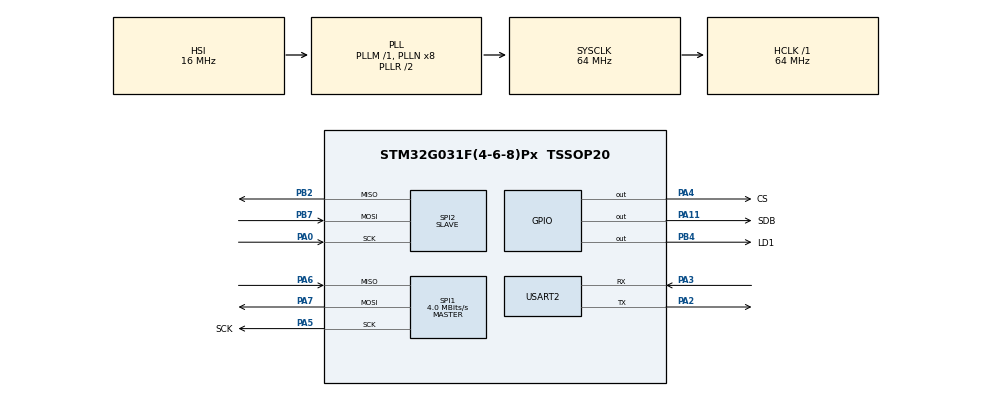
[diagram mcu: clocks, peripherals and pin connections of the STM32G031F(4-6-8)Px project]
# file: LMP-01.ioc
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Mcu.Family=STM32G0
Mcu.Name=STM32G031F(4-6-8)Px
Mcu.Package=TSSOP20
NVIC.SPI1_IRQn=true\:0\:0\:false\:false\:true\:true\:true
PA0.Mode=Full_Duplex_Slave
PA0.Signal=SPI2_SCK
PA11\ [PA9].GPIO_Label=SDB
PA11\ [PA9].PinState=GPIO_PIN_RESET
PA11\ [PA9].Signal=GPIO_Output
PA13.Mode=Serial_Wire
PA13.Signal=SYS_SWDIO
PA14-BOOT0.Mode=Serial_Wire
PA14-BOOT0.Signal=SYS_SWCLK
PA2.Mode=Asynchronous
PA2.Signal=USART2_TX
PA3.Mode=Asynchronous
PA3.Signal=USART2_RX
PA4.GPIO_Label=CS
PA4.PinState=GPIO_PIN_SET
PA4.Signal=GPIO_Output
PA5.GPIO_Label=SCK
PA5.Mode=Full_Duplex_Master
PA5.Signal=SPI1_SCK
PA6.Mode=Full_Duplex_Master
PA6.Signal=SPI1_MISO
PA7.Mode=Full_Duplex_Master
PA7.Signal=SPI1_MOSI
PB2.Mode=Full_Duplex_Slave
PB2.Signal=SPI2_MISO
PB4.GPIO_Label=LD1
PB4.GPIO_ModeDefaultOutputPP=GPIO_MODE_OUTPUT_PP
PB4.GPIO_Speed=GPIO_SPEED_FREQ_MEDIUM
PB4.PinState=GPIO_PIN_RESET
PB4.Signal=GPIO_Output
PB7.Mode=Full_Duplex_Slave
PB7.Signal=SPI2_MOSI
ProjectManager.HeapSize=0x200
ProjectManager.StackSize=0x400
ProjectManager.TargetToolchain=STM32CubeIDE
RCC.ADCFreq_Value=64000000
RCC.AHBFreq_Value=64000000
RCC.CortexFreq_Value=64000000
RCC.EXTERNAL_CLOCK_VALUE=12288000
RCC.HCLKFreq_Value=64000000
RCC.HSE_VALUE=8000000
RCC.HSI_VALUE=16000000
RCC.LSE_VALUE=32768
RCC.SYSCLKFreq_VALUE=64000000
RCC.SYSCLKSource=RCC_SYSCLKSOURCE_PLLCLK
RCC.VCOOutputFreq_Value=128000000
SPI1.BaudRatePrescaler=SPI_BAUDRATEPRESCALER_16
SPI1.CRCCalculation=SPI_CRCCALCULATION_DISABLE
SPI1.CalculateBaudRate=4.0 MBits/s
SPI1.Direction=SPI_DIRECTION_2LINES
SPI1.Mode=SPI_MODE_MASTER
SPI1.NSSPMode=SPI_NSS_PULSE_DISABLE
SPI1.VirtualType=VM_MASTER
SPI2.Direction=SPI_DIRECTION_2LINES
SPI2.Mode=SPI_MODE_SLAVE
SPI2.VirtualType=VM_SLAVE
TIM16.Period=65535-1
TIM16.Prescaler=6400-1
USART2.VirtualMode-Asynchronous=VM_ASYNC
VP_TIM16_VS_ClockSourceINT.Mode=Enable_Timer
board=custom

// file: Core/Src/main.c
/* USER CODE BEGIN Header */
/**
 ******************************************************************************
 * @file           : main.c
 * @brief          : Main program body
 ******************************************************************************
 * @attention
 *
 * Copyright (c) 2022 STMicroelectronics.
 * All rights reserved.
 *
 * This software is licensed under terms that can be found in the LICENSE file
 * in the root directory of this software component.
 * If no LICENSE file comes with this software, it is provided AS-IS.
 *
 ******************************************************************************
 */
/* USER CODE END Header */
#include "main.h"

/* USER CODE BEGIN Includes */
#include "IS31FL3743B.h"
#include "MyDelay.h"
#include "string.h"
/* USER CODE END Includes */

/* USER CODE BEGIN PD */
#define TIME 200
/* USER CODE END PD */

SPI_HandleTypeDef hspi1;
SPI_HandleTypeDef hspi2;

TIM_HandleTypeDef htim16;

UART_HandleTypeDef huart2;

/* USER CODE BEGIN PV */
//Numbers
const uint8_t zeroR[] = { 2, 3, 4, 5, 6, 8, 12, 14, 15, 16, 17, 18 }; //0
const uint8_t oneR[] = { 2, 3, 4, 5, 6 };
const uint8_t twoR[] = { 2, 8, 14, 15, 16, 10, 4, 5, 6, 12, 18 };
const uint8_t threeR[] = { 18, 12, 6, 5, 4, 10, 16, 3, 14, 8, 2 };
const uint8_t fourR[] = { 18, 6, 17, 5, 16, 10, 4, 3, 2 };
const uint8_t fiveR[] = { 6, 12, 18, 17, 16, 10, 4, 3, 2, 8, 14 };
const uint8_t sixR[] = { 6, 12, 18, 17, 16, 10, 4, 15, 3, 14, 8, 2 };
const uint8_t sevenR[] = { 18, 12, 6, 5, 4, 3, 2};
const uint8_t eightR[] = { 2, 3, 4, 5, 6, 8, 10, 12, 14, 15, 16, 17, 18 };
const uint8_t nineR[] = { 18, 12, 6, 5, 4, 3, 2, 17, 16, 10 };
/* USER CODE END PV */

void SystemClock_Config(void);
static void MX_GPIO_Init(void);
static void MX_SPI1_Init(void);
static void MX_USART2_UART_Init(void);
static void MX_TIM16_Init(void);
static void MX_SPI2_Init(void);

int main(void) {

	/* MCU Configuration--------------------------------------------------------*/

	/* Reset of all peripherals, Initializes the Flash interface and the Systick. */
	HAL_Init();

	/* Configure the system clock */
	SystemClock_Config();

	/* Initialize all configured peripherals */
	MX_GPIO_Init();
	MX_SPI1_Init();
	MX_USART2_UART_Init();
	MX_TIM16_Init();
	MX_SPI2_Init();
	/* USER CODE BEGIN 2 */
	extern void LedBlink(uint8_t count);
	uint8_t x = 0;
	IS31FL3743B_init();

	/* USER CODE END 2 */

	/* Infinite loop */
	while (1) {

		/* USER CODE BEGIN 3 */
		switch (x) {
		case 0:
			for (uint8_t dot = 0; dot <= sizeof(zeroR); dot++) {
				IS31FL3743B_SetDotColor(zeroR[dot], Green, full);
			}
			MyDelay_ms(TIME);
			x++;
			IS31FL3743B_ClearAll();

			break;

		case 1:
			for (uint8_t dot = 0; dot <= sizeof(oneR); dot++) {
				IS31FL3743B_SetDotColor(oneR[dot], Green, full);
			}
			MyDelay_ms(TIME);
			x++;
			IS31FL3743B_ClearAll();

			break;

		case 2:
			for (uint8_t dot = 0; dot <= sizeof(twoR); dot++) {
				IS31FL3743B_SetDotColor(twoR[dot], Green, full);
			}
			MyDelay_ms(TIME);
			x++;
			IS31FL3743B_ClearAll();
			break;

		case 3:
			for (uint8_t dot = 0; dot <= sizeof(threeR); dot++) {
				IS31FL3743B_SetDotColor(threeR[dot], Green, full);
			}
			MyDelay_ms(TIME);
			x++;
			IS31FL3743B_ClearAll();
			break;

		case 4:
			for (uint8_t dot = 0; dot <= sizeof(fourR); dot++) {
				IS31FL3743B_SetDotColor(fourR[dot], Green, full);
			}
			MyDelay_ms(TIME);
			x++;
			IS31FL3743B_ClearAll();
			break;

		case 5:
			for (uint8_t dot = 0; dot <= sizeof(fiveR); dot++) {
				IS31FL3743B_SetDotColor(fiveR[dot], Green, full);
			}
			MyDelay_ms(TIME);
			x++;
			IS31FL3743B_ClearAll();
			break;

		case 6:
			for (uint8_t dot = 0; dot <= sizeof(sixR); dot++) {
				IS31FL3743B_SetDotColor(sixR[dot], Green, full);
			}
			MyDelay_ms(TIME + 300);
			x++;
			IS31FL3743B_ClearAll();
			break;

		case 7:
			for (uint8_t dot = 0; dot <= sizeof(sevenR); dot++) {
				IS31FL3743B_SetDotColor(sevenR[dot], Green, full);
			}
			MyDelay_ms(TIME);
			x++;
			IS31FL3743B_ClearAll();
			break;

		case 8:
			for (uint8_t dot = 0; dot <= sizeof(eightR); dot++) {
				IS31FL3743B_SetDotColor(eightR[dot], Green, full);
			}
			MyDelay_ms(TIME);
			x++;
			IS31FL3743B_ClearAll();
			break;

		case 9:
			for (uint8_t dot = 0; dot <= sizeof(nineR); dot++) {
				IS31FL3743B_SetDotColor(nineR[dot], Green, full);
			}
			MyDelay_ms(TIME);
			x++;
			IS31FL3743B_ClearAll();
			break;
		}
		/* USER CODE END 3 */
	}
}
void SystemClock_Config(void) {
	RCC_OscInitTypeDef RCC_OscInitStruct = { 0 };
	RCC_ClkInitTypeDef RCC_ClkInitStruct = { 0 };

	/** Configure the main internal regulator output voltage
	 */
	HAL_PWREx_ControlVoltageScaling(PWR_REGULATOR_VOLTAGE_SCALE1);
	/** Initializes the RCC Oscillators according to the specified parameters
	 * in the RCC_OscInitTypeDef structure.
	 */
	RCC_OscInitStruct.OscillatorType = RCC_OSCILLATORTYPE_HSI;
	RCC_OscInitStruct.HSIState = RCC_HSI_ON;
	RCC_OscInitStruct.HSIDiv = RCC_HSI_DIV1;
	RCC_OscInitStruct.HSICalibrationValue = RCC_HSICALIBRATION_DEFAULT;
	RCC_OscInitStruct.PLL.PLLState = RCC_PLL_ON;
	RCC_OscInitStruct.PLL.PLLSource = RCC_PLLSOURCE_HSI;
	RCC_OscInitStruct.PLL.PLLM = RCC_PLLM_DIV1;
	RCC_OscInitStruct.PLL.PLLN = 8;
	RCC_OscInitStruct.PLL.PLLP = RCC_PLLP_DIV2;
	RCC_OscInitStruct.PLL.PLLQ = RCC_PLLQ_DIV2;
	RCC_OscInitStruct.PLL.PLLR = RCC_PLLR_DIV2;
	if (HAL_RCC_OscConfig(&RCC_OscInitStruct) != HAL_OK) {
		Error_Handler();
	}
	/** Initializes the CPU, AHB and APB buses clocks
	 */
	RCC_ClkInitStruct.ClockType = RCC_CLOCKTYPE_HCLK | RCC_CLOCKTYPE_SYSCLK
			| RCC_CLOCKTYPE_PCLK1;
	RCC_ClkInitStruct.SYSCLKSource = RCC_SYSCLKSOURCE_PLLCLK;
	RCC_ClkInitStruct.AHBCLKDivider = RCC_SYSCLK_DIV1;
	RCC_ClkInitStruct.APB1CLKDivider = RCC_HCLK_DIV1;

	if (HAL_RCC_ClockConfig(&RCC_ClkInitStruct, FLASH_LATENCY_2) != HAL_OK) {
		Error_Handler();
	}
}

static void MX_SPI1_Init(void) {

	/* SPI1 parameter configuration*/
	hspi1.Instance = SPI1;
	hspi1.Init.Mode = SPI_MODE_MASTER;
	hspi1.Init.Direction = SPI_DIRECTION_2LINES;
	hspi1.Init.DataSize = SPI_DATASIZE_8BIT;
	hspi1.Init.CLKPolarity = SPI_POLARITY_LOW;
	hspi1.Init.CLKPhase = SPI_PHASE_1EDGE;
	hspi1.Init.NSS = SPI_NSS_SOFT;
	hspi1.Init.BaudRatePrescaler = SPI_BAUDRATEPRESCALER_16;
	hspi1.Init.FirstBit = SPI_FIRSTBIT_MSB;
	hspi1.Init.TIMode = SPI_TIMODE_DISABLE;
	hspi1.Init.CRCCalculation = SPI_CRCCALCULATION_DISABLE;
	hspi1.Init.CRCPolynomial = 7;
	hspi1.Init.CRCLength = SPI_CRC_LENGTH_DATASIZE;
	hspi1.Init.NSSPMode = SPI_NSS_PULSE_DISABLE;
	if (HAL_SPI_Init(&hspi1) != HAL_OK) {
		Error_Handler();
	}
	/* USER CODE BEGIN SPI1_Init 2 */
	HAL_GPIO_WritePin(SCK_GPIO_Port, SCK_Pin, 0);
	/* USER CODE END SPI1_Init 2 */

}

static void MX_SPI2_Init(void) {

	/* SPI2 parameter configuration*/
	hspi2.Instance = SPI2;
	hspi2.Init.Mode = SPI_MODE_SLAVE;
	hspi2.Init.Direction = SPI_DIRECTION_2LINES;
	hspi2.Init.DataSize = SPI_DATASIZE_8BIT;
	hspi2.Init.CLKPolarity = SPI_POLARITY_LOW;
	hspi2.Init.CLKPhase = SPI_PHASE_1EDGE;
	hspi2.Init.NSS = SPI_NSS_SOFT;
	hspi2.Init.FirstBit = SPI_FIRSTBIT_MSB;
	hspi2.Init.TIMode = SPI_TIMODE_DISABLE;
	hspi2.Init.CRCCalculation = SPI_CRCCALCULATION_DISABLE;
	hspi2.Init.CRCPolynomial = 7;
	hspi2.Init.CRCLength = SPI_CRC_LENGTH_DATASIZE;
	hspi2.Init.NSSPMode = SPI_NSS_PULSE_DISABLE;
	if (HAL_SPI_Init(&hspi2) != HAL_OK) {
		Error_Handler();
	}

}

static void MX_TIM16_Init(void) {

	htim16.Instance = TIM16;
	htim16.Init.Prescaler = 6400 - 1;
	htim16.Init.CounterMode = TIM_COUNTERMODE_UP;
	htim16.Init.Period = 65535 - 1;
	htim16.Init.ClockDivision = TIM_CLOCKDIVISION_DIV1;
	htim16.Init.RepetitionCounter = 0;
	htim16.Init.AutoReloadPreload = TIM_AUTORELOAD_PRELOAD_DISABLE;
	if (HAL_TIM_Base_Init(&htim16) != HAL_OK) {
		Error_Handler();
	}
	/* USER CODE BEGIN TIM16_Init 2 */
	HAL_TIM_Base_Start(&(MY_TIM_HANDLE));
	/* USER CODE END TIM16_Init 2 */

}

static void MX_USART2_UART_Init(void) {

	huart2.Instance = USART2;
	huart2.Init.BaudRate = 115200;
	huart2.Init.WordLength = UART_WORDLENGTH_8B;
	huart2.Init.StopBits = UART_STOPBITS_1;
	huart2.Init.Parity = UART_PARITY_NONE;
	huart2.Init.Mode = UART_MODE_TX_RX;
	huart2.Init.HwFlowCtl = UART_HWCONTROL_NONE;
	huart2.Init.OverSampling = UART_OVERSAMPLING_16;
	huart2.Init.OneBitSampling = UART_ONE_BIT_SAMPLE_DISABLE;
	huart2.Init.ClockPrescaler = UART_PRESCALER_DIV1;
	huart2.AdvancedInit.AdvFeatureInit = UART_ADVFEATURE_NO_INIT;
	if (HAL_UART_Init(&huart2) != HAL_OK) {
		Error_Handler();
	}

}

static void MX_GPIO_Init(void) {
	GPIO_InitTypeDef GPIO_InitStruct = { 0 };

	/* GPIO Ports Clock Enable */
	__HAL_RCC_GPIOB_CLK_ENABLE();
	__HAL_RCC_GPIOA_CLK_ENABLE();

	/*Configure GPIO pin Output Level */
	HAL_GPIO_WritePin(CS_GPIO_Port, CS_Pin, GPIO_PIN_SET);

	/*Configure GPIO pin Output Level */
	HAL_GPIO_WritePin(SDB_GPIO_Port, SDB_Pin, GPIO_PIN_RESET);

	/*Configure GPIO pin Output Level */
	HAL_GPIO_WritePin(LD1_GPIO_Port, LD1_Pin, GPIO_PIN_RESET);

	/*Configure GPIO pins : CS_Pin SDB_Pin */
	GPIO_InitStruct.Pin = CS_Pin | SDB_Pin;
	GPIO_InitStruct.Mode = GPIO_MODE_OUTPUT_PP;
	GPIO_InitStruct.Pull = GPIO_NOPULL;
	GPIO_InitStruct.Speed = GPIO_SPEED_FREQ_LOW;
	HAL_GPIO_Init(GPIOA, &GPIO_InitStruct);

	/*Configure GPIO pin : LD1_Pin */
	GPIO_InitStruct.Pin = LD1_Pin;
	GPIO_InitStruct.Mode = GPIO_MODE_OUTPUT_PP;
	GPIO_InitStruct.Pull = GPIO_NOPULL;
	GPIO_InitStruct.Speed = GPIO_SPEED_FREQ_MEDIUM;
	HAL_GPIO_Init(LD1_GPIO_Port, &GPIO_InitStruct);

}

/* USER CODE BEGIN 4 */
extern void LedBlink(uint8_t HowManyTimes) {
	for (uint8_t count = 0; count < HowManyTimes; count++) {
		HAL_GPIO_WritePin(LD1_GPIO_Port, LD1_Pin, 1);
		MyDelay_ms(50);
		HAL_GPIO_WritePin(LD1_GPIO_Port, LD1_Pin, 0);
		MyDelay_ms(50);
	}
}
;

void HAL_GPIO_EXTI_Callback(uint16_t GPIO_Pin) {
	/* Prevent unused argument(s) compilation warning */
//	if (GPIO_Pin == GPIO_PIN_13) {
//		MyDelay_ms(1); //prevent bounce
//		LedBlink(1);
//	}
	/* NOTE: This function Should not be modified, when the callback is needed,
	 the HAL_GPIO_EXTI_Callback could be implemented in the user file
	 */
}
/* USER CODE END 4 */

void Error_Handler(void) {
	__disable_irq();
	while (1) {
	}
}
